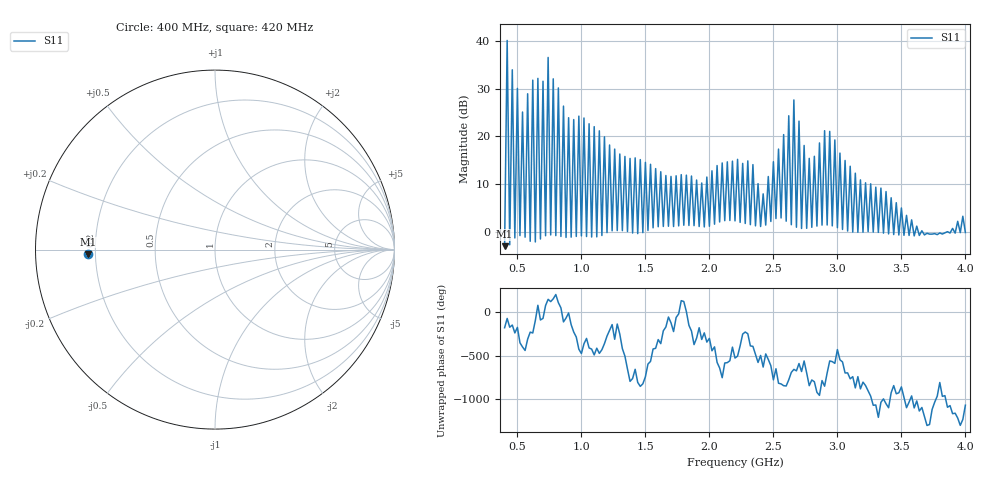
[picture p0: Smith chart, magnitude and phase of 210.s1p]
!Created with skrf (http://scikit-rf.org).
# Hz S RI R 50.0
!freq ReS11 ImS11
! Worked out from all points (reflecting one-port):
!   181 points, 400 MHz to 4 GHz, reference 50 ohm
!   lowest |S11| = -3.0 dB at 400 MHz (marker M1), VSWR 5.88, Z = 8.51 - j0.849 ohm
!   phase of S11 starts at -178 deg and turns -888 deg over the sweep
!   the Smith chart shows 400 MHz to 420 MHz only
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4e8  -0.7088 -0.0248
4.2e8  31.63 -96.22
4.4e8  -0.7259 -0.0995
4.6e8  -41.98 -27.02
4.8e8  -0.4626 0.7304
5e8  -31.7 -3.434
5.4e8  14.13 -11.19
6.2e8  -20.59 33
6.4e8  -0.0764 -0.7816
6.6e8  7.472 39.88
7e8  12.58 -35.73
7.4e8  -56.79 35.99
7.6e8  -0.4853 0.7929
7.8e8  -36.02 17.7
8e8  -0.8453 -0.35
8.2e8  -10.61 30.44
8.6e8  -7.489 -19.4
9e8  15.53 -2.355
9.4e8  -10.15 11.08
9.8e8  7.024 -14.74
1.3e9  -2.08 6.209
1.76e9  1.094 -0.3765
2.2e9  -1.265 -0.3221
2.62e9  9.431 -13.51
2.66e9  10.33 21.8
3.1e9  3.529 -3.361
3.56e9  0.6007 0.6952
4e9  0.9574 0.2361
